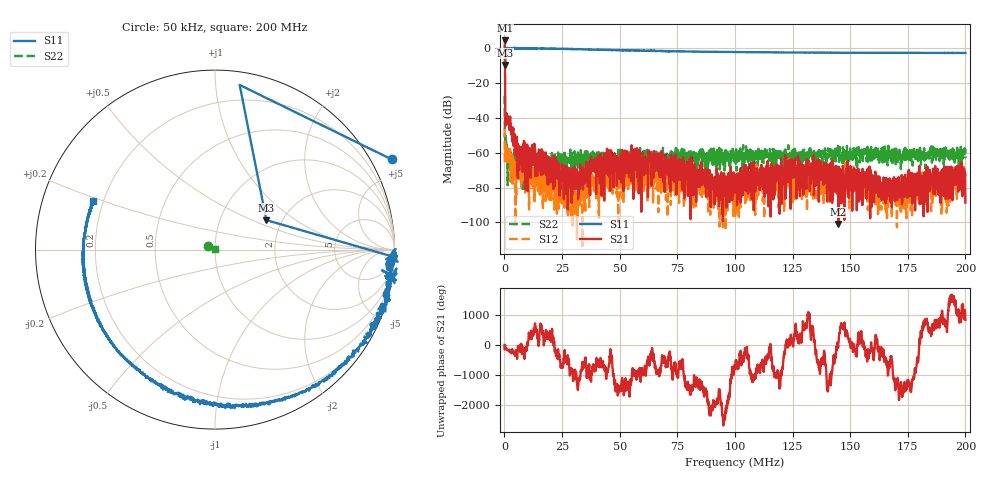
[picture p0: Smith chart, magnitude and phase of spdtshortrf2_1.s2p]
! 26-Feb-26 10:56:15 AM
! E:\VNA_MEASUREMENTS\SPDT1_OPENSHORT\SPDTSHORTRF2_1.S2P
! CHANNEL.1
! TR.MEASUREMENT
! CORRECTED.DATA
# GHZ S RI R 50.0
! FREQ.GHZ  S11RE  S11IM  S21RE  S21IM  S12RE  S12IM  S22RE  S22IM
!; PortSelection: Port_12
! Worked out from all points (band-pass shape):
!   2000 points, 50 kHz to 200 MHz, reference 50 ohm
!   highest |S21| = 4.41 dB at 150 kHz (marker M1); lowest = -100.9 dB at 144.9 MHz (marker M2)
!   |S21| within 3 dB of the highest: start of sweep to 169.4 kHz
!   lowest |S11| = -9.6 dB at 250 kHz (marker M3), VSWR 1.98, Z = 83 + j30.6 ohm
!   |S11| at or under -10 dB: nowhere
!   |S22| runs from -84.9 to -27.3 dB; largest |S21 - S12| = 1.7
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5e-05  0.9854 0.5021  1.624 -0.0252  -0.00494 -0.000539  -0.0377 0.0214
0.000150025  0.1374 0.9175  -1.513 -0.6867  0.000305 -0.000437  -0.00117 -0.0042
0.00025005  0.2862 0.1642  0.276 -0.0386  0.000515 -0.000267  0.00189 -0.00185
0.001150275  1.018 -0.0675  -0.00908 -0.00301  0.000212 -0.000403  0.00117 0.000361
0.001350325  0.9849 -0.0695  -0.0115 -0.000258  0.000141 -0.00132  -6.78e-05 9.58e-05
0.006451601  0.9589 -0.1999  -0.000959 -0.000261  -0.000351 -5.39e-05  -0.000112 0.000523
0.01695423  0.8463 -0.52  -0.00021 0.000526  0.000306 -0.000138  0.00054 0.00012
0.0248562  0.6707 -0.6858  0.000176 -9.64e-05  2.26e-05 2.71e-05  0.000472 -0.000253
0.03345835  0.4683 -0.8023  -0.00019 -0.000121  9.5e-06 4.43e-05  0.000873 0.000307
0.04436108  0.2134 -0.8634  -5.1e-05 0.00035  -7.7e-05 -0.000273  0.000758 0.000214
0.05786446  -0.0689 -0.8474  -0.000901 -6.44e-05  -0.000344 -0.000126  0.000802 0.000436
0.06676668  -0.2259 -0.7994  -0.000618 0.000718  1.33e-05 1.45e-05  0.000217 0.000599
0.06876718  -0.2516 -0.7879  0.000256 -3.47e-05  0.000182 0.000201  0.00133 0.000394
0.08087021  -0.4111 -0.6857  2.51e-05 -0.000167  1.9e-06 0.000188  0.000359 0.000507
0.09097274  -0.513 -0.5959  -8.15e-05 -3.02e-05  -1.7e-05 0.000168  0.000424 0.000239
0.100075  -0.5847 -0.5108  9.64e-05 8.95e-05  1.26e-05 8.8e-06  0.000517 0.000643
0.1252813  -0.7003 -0.2821  0.000227 -0.000308  0.000252 -2.6e-05  0.000684 0.000644
0.1333833  -0.7134 -0.2082  0.000236 -8.72e-05  -6.73e-05 6.47e-05  0.000245 0.000767
0.1448862  -0.73 -0.1124  5.2e-06 7.4e-06  -2.93e-05 2.46e-05  0.000954 0.000705
0.1666917  -0.7312 0.0536  2.87e-05 -7.25e-05  2.92e-05 -8.19e-05  0.000396 0.000761
0.1911978  -0.6962 0.2158  8.85e-05 -0.000175  5.32e-05 -9.53e-05  0.000479 0.000954
0.2  -0.6776 0.268  -1.16e-05 3.51e-05  -0.000171 -0.000119  0.00024 0.000651
